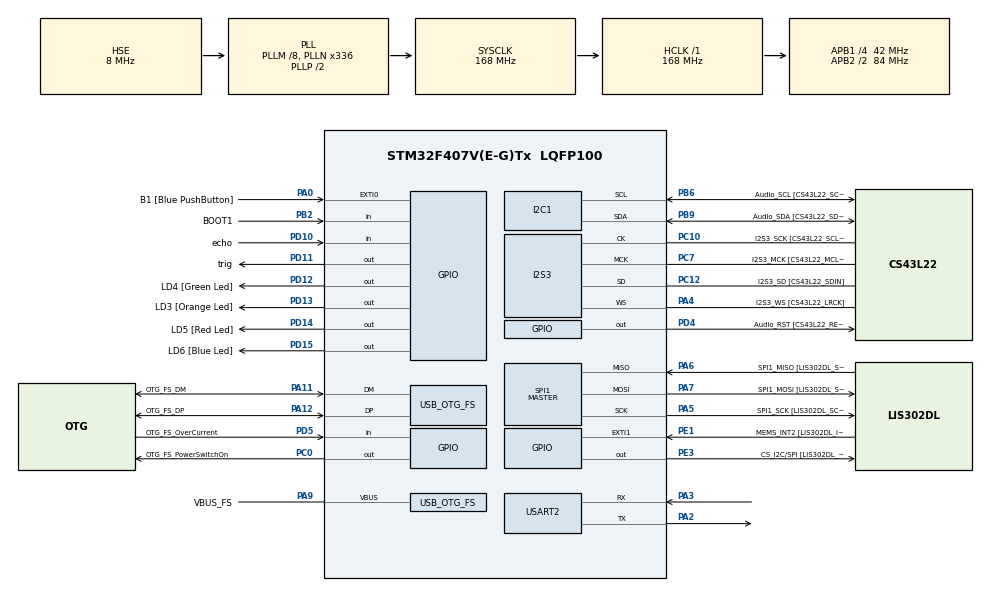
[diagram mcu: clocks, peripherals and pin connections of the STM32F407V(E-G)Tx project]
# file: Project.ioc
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FREERTOS.Tasks01=defaultTask,0,128,StartDefaultTask,Default,NULL,Dynamic,NULL,NULL
I2S3.AudioFreq-Half_Duplex_Master=I2S_AUDIOFREQ_96K
I2S3.ErrorAudioFreq=-2.34 %
I2S3.ErrorAudioFreq-Half_Duplex_Master=0.8 %
I2S3.FullDuplexMode=I2S_FULLDUPLEXMODE_DISABLE
I2S3.Instance=SPI$Index
I2S3.RealAudioFreq=93.75 KHz
I2S3.RealAudioFreq-Half_Duplex_Master=96.774 KHz
I2S3.VirtualMode=I2S_MODE_MASTER
Mcu.Family=STM32F4
Mcu.Name=STM32F407V(E-G)Tx
Mcu.Package=LQFP100
NVIC.OTG_FS_IRQn=true\:5\:0\:false\:false\:true\:true\:true\:true
NVIC.PriorityGroup=NVIC_PRIORITYGROUP_4
PA0-WKUP.GPIO_Label=B1 [Blue PushButton]
PA0-WKUP.GPIO_ModeDefaultEXTI=GPIO_MODE_EVT_RISING
PA0-WKUP.GPIO_PuPd=GPIO_NOPULL
PA0-WKUP.Signal=GPXTI0
PA10.GPIO_Label=OTG_FS_ID
PA10.GPIO_Mode=GPIO_MODE_AF_PP
PA10.GPIO_PuPd=GPIO_NOPULL
PA10.GPIO_Speed=GPIO_SPEED_FREQ_LOW
PA10.Signal=USB_OTG_FS_ID
PA11.GPIO_Label=OTG_FS_DM
PA11.GPIO_Mode=GPIO_MODE_AF_PP
PA11.GPIO_PuPd=GPIO_NOPULL
PA11.GPIO_Speed=GPIO_SPEED_FREQ_LOW
PA11.Mode=Host_Only
PA11.Signal=USB_OTG_FS_DM
PA12.GPIO_Label=OTG_FS_DP
PA12.GPIO_Mode=GPIO_MODE_AF_PP
PA12.GPIO_PuPd=GPIO_NOPULL
PA12.GPIO_Speed=GPIO_SPEED_FREQ_LOW
PA12.Mode=Host_Only
PA12.Signal=USB_OTG_FS_DP
PA13.GPIO_Label=SWDIO
PA13.Mode=Serial_Wire
PA13.Signal=SYS_JTMS-SWDIO
PA14.GPIO_Label=SWCLK
PA14.Mode=Serial_Wire
PA14.Signal=SYS_JTCK-SWCLK
PA2.Mode=Asynchronous
PA2.Signal=USART2_TX
PA3.Mode=Asynchronous
PA3.Signal=USART2_RX
PA4.GPIO_Label=I2S3_WS [CS43L22_LRCK]
PA4.GPIO_Mode=GPIO_MODE_AF_PP
PA4.GPIO_PuPd=GPIO_NOPULL
PA4.GPIO_Speed=GPIO_SPEED_FREQ_LOW
PA4.Mode=Half_Duplex_Master
PA4.Signal=I2S3_WS
PA5.GPIO_Label=SPI1_SCK [LIS302DL_SCL/SPC]
PA5.GPIO_Mode=GPIO_MODE_AF_PP
PA5.GPIO_PuPd=GPIO_NOPULL
PA5.GPIO_Speed=GPIO_SPEED_FREQ_LOW
PA5.Mode=Full_Duplex_Master
PA5.Signal=SPI1_SCK
PA6.GPIO_Label=SPI1_MISO [LIS302DL_SDO]
PA6.GPIO_Mode=GPIO_MODE_AF_PP
PA6.GPIO_PuPd=GPIO_NOPULL
PA6.GPIO_Speed=GPIO_SPEED_FREQ_LOW
PA6.Mode=Full_Duplex_Master
PA6.Signal=SPI1_MISO
PA7.GPIO_Label=SPI1_MOSI [LIS302DL_SDA/SDI/SDO]
PA7.GPIO_Mode=GPIO_MODE_AF_PP
PA7.GPIO_PuPd=GPIO_NOPULL
PA7.GPIO_Speed=GPIO_SPEED_FREQ_LOW
PA7.Mode=Full_Duplex_Master
PA7.Signal=SPI1_MOSI
PA9.GPIO_Label=VBUS_FS
PA9.GPIO_Mode=GPIO_MODE_INPUT
PA9.GPIO_PuPd=GPIO_NOPULL
PA9.Mode=Activate_VBUS
PA9.Signal=USB_OTG_FS_VBUS
PB10.GPIO_Label=CLK_IN [MP45DT02_CLK]
PB10.GPIO_Mode=GPIO_MODE_AF_PP
PB10.GPIO_PuPd=GPIO_NOPULL
PB10.GPIO_Speed=GPIO_SPEED_FREQ_LOW
PB10.Signal=I2S2_CK
PB2.GPIO_Label=BOOT1
PB2.GPIO_Mode=GPIO_MODE_INPUT
PB2.GPIO_PuPd=GPIO_NOPULL
PB2.Signal=GPIO_Input
PB3.GPIO_Label=SWO
PB3.Signal=SYS_JTDO-SWO
PB6.GPIO_Label=Audio_SCL [CS43L22_SCL]
PB6.GPIO_Mode=GPIO_MODE_AF_OD
PB6.GPIO_PuPd=GPIO_NOPULL
PB6.GPIO_Speed=GPIO_SPEED_FREQ_LOW
PB6.Mode=I2C
PB6.Signal=I2C1_SCL
PB9.GPIO_Label=Audio_SDA [CS43L22_SDA]
PB9.GPIO_Mode=GPIO_MODE_AF_OD
PB9.GPIO_PuPd=GPIO_NOPULL
PB9.GPIO_Speed=GPIO_SPEED_FREQ_LOW
PB9.Mode=I2C
PB9.Signal=I2C1_SDA
PC0.GPIO_Label=OTG_FS_PowerSwitchOn
PC0.GPIO_PuPd=GPIO_NOPULL
PC0.GPIO_Speed=GPIO_SPEED_FREQ_LOW
PC0.PinState=GPIO_PIN_SET
PC0.Signal=GPIO_Output
PC10.GPIO_Label=I2S3_SCK [CS43L22_SCLK]
PC10.GPIO_Mode=GPIO_MODE_AF_PP
PC10.GPIO_PuPd=GPIO_NOPULL
PC10.GPIO_Speed=GPIO_SPEED_FREQ_LOW
PC10.Mode=Half_Duplex_Master
PC10.Signal=I2S3_CK
PC12.GPIO_Label=I2S3_SD [CS43L22_SDIN]
PC12.GPIO_Mode=GPIO_MODE_AF_PP
PC12.GPIO_PuPd=GPIO_NOPULL
PC12.GPIO_Speed=GPIO_SPEED_FREQ_LOW
PC12.Mode=Half_Duplex_Master
PC12.Signal=I2S3_SD
PC14-OSC32_IN.GPIO_Label=PC14-OSC32_IN
PC14-OSC32_IN.Mode=LSE-External-Oscillator
PC14-OSC32_IN.Signal=RCC_OSC32_IN
PC15-OSC32_OUT.GPIO_Label=PC15-OSC32_OUT
PC15-OSC32_OUT.Mode=LSE-External-Oscillator
PC15-OSC32_OUT.Signal=RCC_OSC32_OUT
PC3.GPIO_Label=PDM_OUT [MP45DT02_DOUT]
PC3.GPIO_Mode=GPIO_MODE_AF_PP
PC3.GPIO_PuPd=GPIO_NOPULL
PC3.GPIO_Speed=GPIO_SPEED_FREQ_LOW
PC3.Signal=I2S2_SD
PC7.GPIO_Label=I2S3_MCK [CS43L22_MCLK]
PC7.GPIO_Mode=GPIO_MODE_AF_PP
PC7.GPIO_PuPd=GPIO_NOPULL
PC7.GPIO_Speed=GPIO_SPEED_FREQ_LOW
PC7.Mode=Master_Clock_Activated
PC7.Signal=I2S3_MCK
PD10.GPIO_Label=echo
PD10.Signal=GPIO_Input
PD11.GPIO_Label=trig
PD11.Signal=GPIO_Output
PD12.GPIO_Label=LD4 [Green Led]
PD12.GPIO_PuPd=GPIO_NOPULL
PD12.GPIO_Speed=GPIO_SPEED_FREQ_LOW
PD12.Signal=GPIO_Output
PD13.GPIO_Label=LD3 [Orange Led]
PD13.GPIO_PuPd=GPIO_NOPULL
PD13.GPIO_Speed=GPIO_SPEED_FREQ_LOW
PD13.Signal=GPIO_Output
PD14.GPIO_Label=LD5 [Red Led]
PD14.GPIO_PuPd=GPIO_NOPULL
PD14.GPIO_Speed=GPIO_SPEED_FREQ_LOW
PD14.Signal=GPIO_Output
PD15.GPIO_Label=LD6 [Blue Led]
PD15.GPIO_PuPd=GPIO_NOPULL
PD15.GPIO_Speed=GPIO_SPEED_FREQ_LOW
PD15.Signal=GPIO_Output
PD4.GPIO_Label=Audio_RST [CS43L22_RESET]
PD4.GPIO_PuPd=GPIO_NOPULL
PD4.GPIO_Speed=GPIO_SPEED_FREQ_LOW
PD4.Signal=GPIO_Output
PD5.GPIO_Label=OTG_FS_OverCurrent
PD5.GPIO_Mode=GPIO_MODE_INPUT
PD5.GPIO_PuPd=GPIO_NOPULL
PD5.Signal=GPIO_Input
PE1.GPIO_Label=MEMS_INT2 [LIS302DL_INT2]
PE1.GPIO_ModeDefaultEXTI=GPIO_MODE_EVT_RISING
PE1.GPIO_PuPd=GPIO_NOPULL
PE1.Signal=GPXTI1
PE3.GPIO_Label=CS_I2C/SPI [LIS302DL_CS_I2C/SPI]
PE3.GPIO_PuPd=GPIO_NOPULL
PE3.GPIO_Speed=GPIO_SPEED_FREQ_LOW
PE3.Signal=GPIO_Output
PH0-OSC_IN.GPIO_Label=PH0-OSC_IN
PH0-OSC_IN.Mode=HSE-External-Oscillator
PH0-OSC_IN.Signal=RCC_OSC_IN
PH1-OSC_OUT.GPIO_Label=PH1-OSC_OUT
PH1-OSC_OUT.Mode=HSE-External-Oscillator
PH1-OSC_OUT.Signal=RCC_OSC_OUT
ProjectManager.HeapSize=0x200
ProjectManager.StackSize=0x400
ProjectManager.TargetToolchain=STM32CubeIDE
RCC.48MHZClocksFreq_Value=48000000
RCC.AHBFreq_Value=168000000
RCC.APB1CLKDivider=RCC_HCLK_DIV4
RCC.APB1Freq_Value=42000000
RCC.APB1TimFreq_Value=84000000
RCC.APB2CLKDivider=RCC_HCLK_DIV2
RCC.APB2Freq_Value=84000000
RCC.APB2TimFreq_Value=168000000
RCC.CortexFreq_Value=168000000
RCC.HCLKFreq_Value=168000000
RCC.HSE_VALUE=8000000
RCC.HSI_VALUE=16000000
RCC.PLLM=8
RCC.PLLN=336
RCC.PLLQ=7
RCC.SYSCLKFreq_VALUE=168000000
RCC.SYSCLKSource=RCC_SYSCLKSOURCE_PLLCLK
RCC.VCOOutputFreq_Value=336000000
SPI1.BaudRatePrescaler-Full_Duplex_Master=SPI_BAUDRATEPRESCALER_2
SPI1.CalculateBaudRate-Full_Duplex_Master=42.0 MBits/s
SPI1.Direction=SPI_DIRECTION_2LINES
SPI1.Mode=SPI_MODE_MASTER
SPI1.Mode-Full_Duplex_Master=SPI_MODE_MASTER
SPI1.VirtualType=VM_MASTER
USART2.VirtualMode=VM_ASYNC
USB_HOST.BSP.number=1
USB_HOST.USBH_HandleTypeDef-CDC_FS=hUsbHostFS
USB_HOST.USBH_USE_OS-CDC_FS=0
USB_HOST.VirtualModeFS=Cdc
USB_HOST0.BSP.STBoard=false
USB_HOST0.BSP.api=Unknown
USB_HOST0.BSP.i2caddr=0
USB_HOST0.BSP.i2creg=0
USB_HOST0.BSP.instance=PC0
USB_HOST0.BSP.ip=GPIO
USB_HOST0.BSP.mode=Output
USB_HOST0.BSP.name=Drive_VBUS_FS
USB_HOST0.BSP.solution=PC0
USB_OTG_FS.VirtualMode=Host_Only
USB_OTG_FS.phy_itface=HCD_PHY_EMBEDDED
VP_FREERTOS_VS_CMSIS_V1.Mode=CMSIS_V1
VP_USB_HOST_VS_USB_HOST_CDC_FS.Mode=CDC_FS
board=STM32F4DISCOVERY

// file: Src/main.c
/* USER CODE BEGIN Header */
/**
  ******************************************************************************
  * @file           : main.c
  * @brief          : Main program body
  ******************************************************************************
  * @attention
  *
  * <h2><center>&copy; Copyright (c) 2019 STMicroelectronics.
  * All rights reserved.</center></h2>
  *
  * This software component is licensed by ST under Ultimate Liberty license
  * SLA0044, the "License"; You may not use this file except in compliance with
  * the License. You may obtain a copy of the License at:
  *                             www.st.com/SLA0044
  *
  ******************************************************************************
  */
/* USER CODE END Header */

#include "main.h"
#include "cmsis_os.h"
#include "usb_host.h"

/* USER CODE BEGIN Includes */

#include "dwt_delay.h"

/* USER CODE END Includes */

I2C_HandleTypeDef hi2c1;

I2S_HandleTypeDef hi2s3;

SPI_HandleTypeDef hspi1;

UART_HandleTypeDef huart2;

osThreadId defaultTaskHandle;

void SystemClock_Config(void);
static void MX_GPIO_Init(void);
static void MX_I2C1_Init(void);
static void MX_I2S3_Init(void);
static void MX_SPI1_Init(void);
static void MX_USART2_UART_Init(void);
void StartDefaultTask1(void const * argument);
void StartDefaultTask2(void const * argument);

/* USER CODE BEGIN PFP */

uint32_t sensor_time;
uint16_t distance;

/* USER CODE END PFP */

/* USER CODE BEGIN 0 */

uint32_t hcsr04_read (void)
{
	uint32_t local_time=0;
	HAL_GPIO_WritePin(GPIOD, GPIO_PIN_11, GPIO_PIN_RESET);  // pull the TRIG pin HIGH
	DWT_Delay(2);  // wait for 2 us

	HAL_GPIO_WritePin(GPIOD, GPIO_PIN_11, GPIO_PIN_SET);  // pull the TRIG pin HIGH
	DWT_Delay(10);  // wait for 10 us
	HAL_GPIO_WritePin(GPIOD, GPIO_PIN_11, GPIO_PIN_RESET);  // pull the TRIG pin low

	// read the time for which the pin is high

	while (!(HAL_GPIO_ReadPin(GPIOD, GPIO_PIN_10)));  // wait for the ECHO pin to go high
	while (HAL_GPIO_ReadPin(GPIOD, GPIO_PIN_10))    // while the pin is high
	 {
		local_time++;   // measure time for which the pin is high
		DWT_Delay(1);
	 }
	return local_time;
}

/* USER CODE END 0 */

int main(void)
{

  /* MCU Configuration--------------------------------------------------------*/

  /* Reset of all peripherals, Initializes the Flash interface and the Systick. */
  HAL_Init();

  /* Configure the system clock */
  SystemClock_Config();

  /* Initialize all configured peripherals */
  MX_GPIO_Init();
  MX_I2C1_Init();
  MX_I2S3_Init();
  MX_SPI1_Init();
  MX_USART2_UART_Init();
  /* USER CODE BEGIN 2 */

  DWT_Init();

  /* USER CODE END 2 */

  /* Create the thread(s) */
  /* definition and creation of defaultTask */
  osThreadDef(defaultTask1, StartDefaultTask1, osPriorityNormal, 0, 128);
  defaultTaskHandle = osThreadCreate(osThread(defaultTask1), NULL);

  osThreadDef(defaultTask2, StartDefaultTask2, osPriorityNormal, 0, 128);
  defaultTaskHandle = osThreadCreate(osThread(defaultTask2), NULL);

  /* Start scheduler */
  osKernelStart();

  /* We should never get here as control is now taken by the scheduler */

  /* Infinite loop */
  while (1)
  {

  }
}

void SystemClock_Config(void)
{
  RCC_OscInitTypeDef RCC_OscInitStruct = {0};
  RCC_ClkInitTypeDef RCC_ClkInitStruct = {0};
  RCC_PeriphCLKInitTypeDef PeriphClkInitStruct = {0};

  /** Configure the main internal regulator output voltage
  */
  __HAL_RCC_PWR_CLK_ENABLE();
  __HAL_PWR_VOLTAGESCALING_CONFIG(PWR_REGULATOR_VOLTAGE_SCALE1);
  /** Initializes the CPU, AHB and APB busses clocks
  */
  RCC_OscInitStruct.OscillatorType = RCC_OSCILLATORTYPE_HSE;
  RCC_OscInitStruct.HSEState = RCC_HSE_ON;
  RCC_OscInitStruct.PLL.PLLState = RCC_PLL_ON;
  RCC_OscInitStruct.PLL.PLLSource = RCC_PLLSOURCE_HSE;
  RCC_OscInitStruct.PLL.PLLM = 8;
  RCC_OscInitStruct.PLL.PLLN = 336;
  RCC_OscInitStruct.PLL.PLLP = RCC_PLLP_DIV2;
  RCC_OscInitStruct.PLL.PLLQ = 7;
  if (HAL_RCC_OscConfig(&RCC_OscInitStruct) != HAL_OK)
  {
    Error_Handler();
  }
  /** Initializes the CPU, AHB and APB busses clocks
  */
  RCC_ClkInitStruct.ClockType = RCC_CLOCKTYPE_HCLK|RCC_CLOCKTYPE_SYSCLK
                              |RCC_CLOCKTYPE_PCLK1|RCC_CLOCKTYPE_PCLK2;
  RCC_ClkInitStruct.SYSCLKSource = RCC_SYSCLKSOURCE_PLLCLK;
  RCC_ClkInitStruct.AHBCLKDivider = RCC_SYSCLK_DIV1;
  RCC_ClkInitStruct.APB1CLKDivider = RCC_HCLK_DIV4;
  RCC_ClkInitStruct.APB2CLKDivider = RCC_HCLK_DIV2;

  if (HAL_RCC_ClockConfig(&RCC_ClkInitStruct, FLASH_LATENCY_5) != HAL_OK)
  {
    Error_Handler();
  }
  PeriphClkInitStruct.PeriphClockSelection = RCC_PERIPHCLK_I2S;
  PeriphClkInitStruct.PLLI2S.PLLI2SN = 192;
  PeriphClkInitStruct.PLLI2S.PLLI2SR = 2;
  if (HAL_RCCEx_PeriphCLKConfig(&PeriphClkInitStruct) != HAL_OK)
  {
    Error_Handler();
  }
}

static void MX_I2C1_Init(void)
{

  hi2c1.Instance = I2C1;
  hi2c1.Init.ClockSpeed = 100000;
  hi2c1.Init.DutyCycle = I2C_DUTYCYCLE_2;
  hi2c1.Init.OwnAddress1 = 0;
  hi2c1.Init.AddressingMode = I2C_ADDRESSINGMODE_7BIT;
  hi2c1.Init.DualAddressMode = I2C_DUALADDRESS_DISABLE;
  hi2c1.Init.OwnAddress2 = 0;
  hi2c1.Init.GeneralCallMode = I2C_GENERALCALL_DISABLE;
  hi2c1.Init.NoStretchMode = I2C_NOSTRETCH_DISABLE;
  if (HAL_I2C_Init(&hi2c1) != HAL_OK)
  {
    Error_Handler();
  }

}

static void MX_I2S3_Init(void)
{

  hi2s3.Instance = SPI3;
  hi2s3.Init.Mode = I2S_MODE_MASTER_TX;
  hi2s3.Init.Standard = I2S_STANDARD_PHILIPS;
  hi2s3.Init.DataFormat = I2S_DATAFORMAT_16B;
  hi2s3.Init.MCLKOutput = I2S_MCLKOUTPUT_ENABLE;
  hi2s3.Init.AudioFreq = I2S_AUDIOFREQ_96K;
  hi2s3.Init.CPOL = I2S_CPOL_LOW;
  hi2s3.Init.ClockSource = I2S_CLOCK_PLL;
  hi2s3.Init.FullDuplexMode = I2S_FULLDUPLEXMODE_DISABLE;
  if (HAL_I2S_Init(&hi2s3) != HAL_OK)
  {
    Error_Handler();
  }

}

static void MX_SPI1_Init(void)
{

  /* SPI1 parameter configuration*/
  hspi1.Instance = SPI1;
  hspi1.Init.Mode = SPI_MODE_MASTER;
  hspi1.Init.Direction = SPI_DIRECTION_2LINES;
  hspi1.Init.DataSize = SPI_DATASIZE_8BIT;
  hspi1.Init.CLKPolarity = SPI_POLARITY_LOW;
  hspi1.Init.CLKPhase = SPI_PHASE_1EDGE;
  hspi1.Init.NSS = SPI_NSS_SOFT;
  hspi1.Init.BaudRatePrescaler = SPI_BAUDRATEPRESCALER_2;
  hspi1.Init.FirstBit = SPI_FIRSTBIT_MSB;
  hspi1.Init.TIMode = SPI_TIMODE_DISABLE;
  hspi1.Init.CRCCalculation = SPI_CRCCALCULATION_DISABLE;
  hspi1.Init.CRCPolynomial = 10;
  if (HAL_SPI_Init(&hspi1) != HAL_OK)
  {
    Error_Handler();
  }

}

static void MX_USART2_UART_Init(void)
{

  huart2.Instance = USART2;
  huart2.Init.BaudRate = 115200;
  huart2.Init.WordLength = UART_WORDLENGTH_8B;
  huart2.Init.StopBits = UART_STOPBITS_1;
  huart2.Init.Parity = UART_PARITY_NONE;
  huart2.Init.Mode = UART_MODE_TX_RX;
  huart2.Init.HwFlowCtl = UART_HWCONTROL_NONE;
  huart2.Init.OverSampling = UART_OVERSAMPLING_16;
  if (HAL_UART_Init(&huart2) != HAL_OK)
  {
    Error_Handler();
  }

}

static void MX_GPIO_Init(void)
{
  GPIO_InitTypeDef GPIO_InitStruct = {0};

  /* GPIO Ports Clock Enable */
  __HAL_RCC_GPIOE_CLK_ENABLE();
  __HAL_RCC_GPIOC_CLK_ENABLE();
  __HAL_RCC_GPIOH_CLK_ENABLE();
  __HAL_RCC_GPIOA_CLK_ENABLE();
  __HAL_RCC_GPIOB_CLK_ENABLE();
  __HAL_RCC_GPIOD_CLK_ENABLE();

  /*Configure GPIO pin Output Level */
  HAL_GPIO_WritePin(CS_I2C_SPI_GPIO_Port, CS_I2C_SPI_Pin, GPIO_PIN_RESET);

  /*Configure GPIO pin Output Level */
  HAL_GPIO_WritePin(OTG_FS_PowerSwitchOn_GPIO_Port, OTG_FS_PowerSwitchOn_Pin, GPIO_PIN_SET);

  /*Configure GPIO pin Output Level */
  HAL_GPIO_WritePin(GPIOD, trig_Pin|LD4_Pin|LD3_Pin|LD5_Pin
                          |LD6_Pin|Audio_RST_Pin, GPIO_PIN_RESET);

  /*Configure GPIO pin : CS_I2C_SPI_Pin */
  GPIO_InitStruct.Pin = CS_I2C_SPI_Pin;
  GPIO_InitStruct.Mode = GPIO_MODE_OUTPUT_PP;
  GPIO_InitStruct.Pull = GPIO_NOPULL;
  GPIO_InitStruct.Speed = GPIO_SPEED_FREQ_LOW;
  HAL_GPIO_Init(CS_I2C_SPI_GPIO_Port, &GPIO_InitStruct);

  /*Configure GPIO pin : OTG_FS_PowerSwitchOn_Pin */
  GPIO_InitStruct.Pin = OTG_FS_PowerSwitchOn_Pin;
  GPIO_InitStruct.Mode = GPIO_MODE_OUTPUT_PP;
  GPIO_InitStruct.Pull = GPIO_NOPULL;
  GPIO_InitStruct.Speed = GPIO_SPEED_FREQ_LOW;
  HAL_GPIO_Init(OTG_FS_PowerSwitchOn_GPIO_Port, &GPIO_InitStruct);

  /*Configure GPIO pin : PDM_OUT_Pin */
  GPIO_InitStruct.Pin = PDM_OUT_Pin;
  GPIO_InitStruct.Mode = GPIO_MODE_AF_PP;
  GPIO_InitStruct.Pull = GPIO_NOPULL;
  GPIO_InitStruct.Speed = GPIO_SPEED_FREQ_LOW;
  GPIO_InitStruct.Alternate = GPIO_AF5_SPI2;
  HAL_GPIO_Init(PDM_OUT_GPIO_Port, &GPIO_InitStruct);

  /*Configure GPIO pin : B1_Pin */
  GPIO_InitStruct.Pin = B1_Pin;
  GPIO_InitStruct.Mode = GPIO_MODE_EVT_RISING;
  GPIO_InitStruct.Pull = GPIO_NOPULL;
  HAL_GPIO_Init(B1_GPIO_Port, &GPIO_InitStruct);

  /*Configure GPIO pin : BOOT1_Pin */
  GPIO_InitStruct.Pin = BOOT1_Pin;
  GPIO_InitStruct.Mode = GPIO_MODE_INPUT;
  GPIO_InitStruct.Pull = GPIO_NOPULL;
  HAL_GPIO_Init(BOOT1_GPIO_Port, &GPIO_InitStruct);

  /*Configure GPIO pin : CLK_IN_Pin */
  GPIO_InitStruct.Pin = CLK_IN_Pin;
  GPIO_InitStruct.Mode = GPIO_MODE_AF_PP;
  GPIO_InitStruct.Pull = GPIO_NOPULL;
  GPIO_InitStruct.Speed = GPIO_SPEED_FREQ_LOW;
  GPIO_InitStruct.Alternate = GPIO_AF5_SPI2;
  HAL_GPIO_Init(CLK_IN_GPIO_Port, &GPIO_InitStruct);

  /*Configure GPIO pins : echo_Pin OTG_FS_OverCurrent_Pin */
  GPIO_InitStruct.Pin = echo_Pin|OTG_FS_OverCurrent_Pin;
  GPIO_InitStruct.Mode = GPIO_MODE_INPUT;
  GPIO_InitStruct.Pull = GPIO_NOPULL;
  HAL_GPIO_Init(GPIOD, &GPIO_InitStruct);

  /*Configure GPIO pins : trig_Pin LD4_Pin LD3_Pin LD5_Pin
                           LD6_Pin Audio_RST_Pin */
  GPIO_InitStruct.Pin = trig_Pin|LD4_Pin|LD3_Pin|LD5_Pin
                          |LD6_Pin|Audio_RST_Pin;
  GPIO_InitStruct.Mode = GPIO_MODE_OUTPUT_PP;
  GPIO_InitStruct.Pull = GPIO_NOPULL;
  GPIO_InitStruct.Speed = GPIO_SPEED_FREQ_LOW;
  HAL_GPIO_Init(GPIOD, &GPIO_InitStruct);

  /*Configure GPIO pin : MEMS_INT2_Pin */
  GPIO_InitStruct.Pin = MEMS_INT2_Pin;
  GPIO_InitStruct.Mode = GPIO_MODE_EVT_RISING;
  GPIO_InitStruct.Pull = GPIO_NOPULL;
  HAL_GPIO_Init(MEMS_INT2_GPIO_Port, &GPIO_InitStruct);

}

void StartDefaultTask1(void const * argument)
{

  /* init code for USB_HOST */
  MX_USB_HOST_Init();

  /* USER CODE BEGIN 5 */
  /* Infinite loop */
  for(;;)
  {
	  	  sensor_time = hcsr04_read();
	      distance = sensor_time * 0.034/2;

	      char buff[30];
	      sprintf(buff, "current distance value = %d\r\n", distance);
	      HAL_UART_Transmit(&huart2, buff, sizeof(buff), 1000);

	      osDelay(500);
  }
  /* USER CODE END 5 */
}

void StartDefaultTask2(void const * argument)
{

  /* init code for USB_HOST */
  MX_USB_HOST_Init();

  /* USER CODE BEGIN 5 */
  /* Infinite loop */
  for(;;)
  {
	  	  char b[1];
	  	  if (HAL_UART_Receive(&huart2, b, sizeof(b), 1000) == HAL_OK) {
	  		  if(b[0] == 'Y') {
	  			  HAL_GPIO_WritePin(GPIOD, GPIO_PIN_12, 1);
	  			  HAL_GPIO_WritePin(GPIOD, GPIO_PIN_14, 0);
	  		  } else if(b[0] == 'O') {
	  			  HAL_GPIO_WritePin(GPIOD, GPIO_PIN_12, 0);
	  			  HAL_GPIO_WritePin(GPIOD, GPIO_PIN_14, 1);
	  		  } else if(b[0] == 'R') {
	  			  HAL_GPIO_WritePin(GPIOD, GPIO_PIN_12, 0);
	  			  HAL_GPIO_WritePin(GPIOD, GPIO_PIN_14, 0);
	  		  }

	  	  }

	  	  osDelay(500);
  }
  /* USER CODE END 5 */
}

void Error_Handler(void)
{
}

/************************ (C) COPYRIGHT STMicroelectronics *****END OF FILE****/
